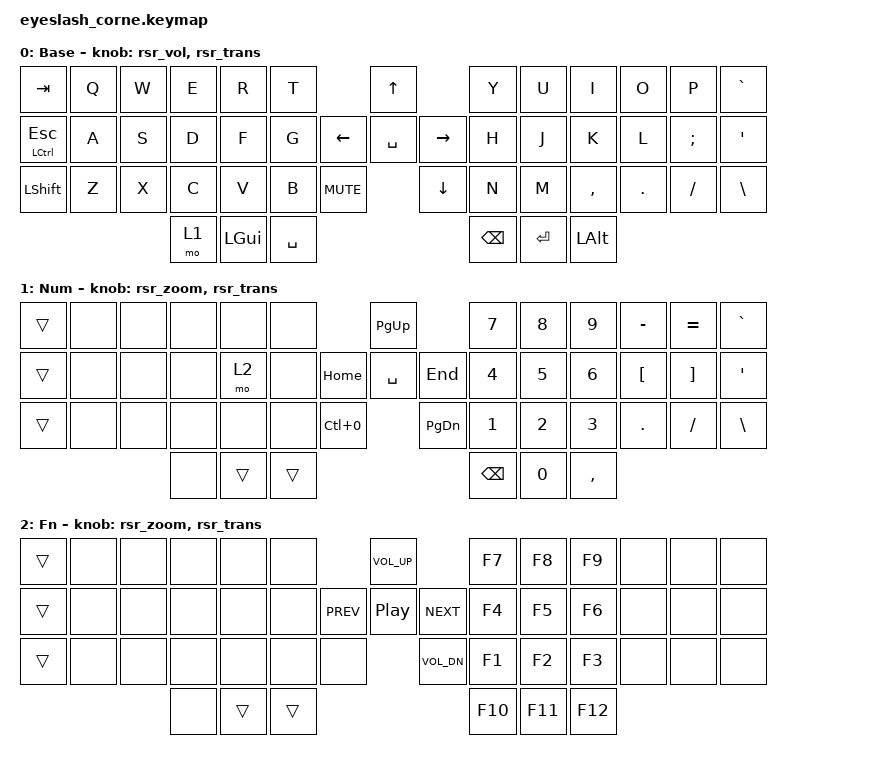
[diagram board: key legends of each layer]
#define ZMK_POINTING_DEFAULT_MOVE_VAL 1200  // 600
#define ZMK_POINTING_DEFAULT_SCRL_VAL 25   // 10

#include <input/processors.dtsi>
#include <zephyr/dt-bindings/input/input-event-codes.h>
#include <behaviors.dtsi>
#include <dt-bindings/zmk/bt.h>
#include <dt-bindings/zmk/ext_power.h>
#include <dt-bindings/zmk/keys.h>
#include <dt-bindings/zmk/pointing.h>
#include <dt-bindings/zmk/outputs.h>
#include <dt-bindings/zmk/rgb.h>

&mmv_input_listener { input-processors = <&zip_xy_scaler 2 1>; };

&msc_input_listener { input-processors = <&zip_scroll_scaler 2 1>; };

&msc {
    acceleration-exponent = <1>;      // 0
    time-to-max-speed-ms = <100>;     // 300
    delay-ms = <0>;                   // 0
};

&mmv {
    time-to-max-speed-ms = <500>;
    acceleration-exponent = <1>;
    trigger-period-ms = <16>;
};

&mt {
    flavor = "tap-preferred";
};

&lt {
    flavor = "tap-preferred";
};

#define MACRO(name,...) \
/ { \
  macros { \
    name: name { \
      compatible = "zmk,behavior-macro"; \
      #binding-cells = <0>; \
      __VA_ARGS__ \
    }; \
  }; \
};

#define MOD_FUNCTION(NAME, MOD, BINDING, MOD_BINDING) \
/ { \
  behaviors { \
    NAME: NAME { \
      compatible = "zmk,behavior-mod-morph"; \
      #binding-cells = <0>; \
      bindings = <BINDING>, <MOD_BINDING>; \
      mods = <(MOD_L##MOD|MOD_R##MOD)>; \
    }; \
  }; \
};

#define MOD_MACRO(NAME, MOD, BINDING, MOD_BINDING) \
MACRO(macro_ ## NAME, wait-ms = <0>; bindings = <MOD_BINDING>;) \
MOD_FUNCTION(NAME, MOD, BINDING, &macro_ ## NAME)

MOD_FUNCTION(bt_tog_clr, SFT, &out OUT_TOG, &bt BT_CLR)

MOD_MACRO(bt_sel_0, SFT,  &bt BT_SEL 0, &bt BT_SEL 0 &bt BT_CLR)
MOD_MACRO(bt_sel_1, SFT,  &bt BT_SEL 1, &bt BT_SEL 1 &bt BT_CLR)
MOD_MACRO(bt_sel_2, SFT,  &bt BT_SEL 2, &bt BT_SEL 2 &bt BT_CLR)
MOD_MACRO(bt_sel_3, SFT,  &bt BT_SEL 3, &bt BT_SEL 3 &bt BT_CLR)

MOD_FUNCTION(rgb_eft, SFT, &rgb_ug RGB_EFF, &rgb_ug RGB_EFR)
MOD_FUNCTION(rgb_hue, SFT, &rgb_ug RGB_HUI, &rgb_ug RGB_HUD)
MOD_FUNCTION(rgb_sat, SFT, &rgb_ug RGB_SAI, &rgb_ug RGB_SAD)
MOD_FUNCTION(rgb_brg, SFT, &rgb_ug RGB_BRI, &rgb_ug RGB_BRD)
MOD_FUNCTION(rgb_spe, SFT, &rgb_ug RGB_SPI, &rgb_ug RGB_SPD)

/ {
    rsr_vol: rsr_vol {
        compatible = "zmk,behavior-runtime-sensor-rotate";
        #sensor-binding-cells = <0>;
        tap-ms = <5>;
        cw-binding = <&kp C_VOL_UP>;
        ccw-binding = <&kp C_VOL_DN>;
    };

    rsr_zoom: rsr_zoom {
        compatible = "zmk,behavior-runtime-sensor-rotate";
        #sensor-binding-cells = <0>;
        tap-ms = <5>;
        cw-binding = <&kp LC(EQUAL)>;
        ccw-binding = <&kp LC(MINUS)>;
    };

    rsr_scroll: rsr_scroll {
        compatible = "zmk,behavior-runtime-sensor-rotate";
        #sensor-binding-cells = <0>;
        tap-ms = <5>;
        cw-binding = <&msc SCRL_DOWN>;
        ccw-binding = <&msc SCRL_UP>;
    };

    rsr_trans: rsr_trans {
        compatible = "zmk,behavior-runtime-sensor-rotate";
        #sensor-binding-cells = <0>;
        tap-ms = <0>;
    };

    keymap {
        compatible = "zmk,keymap";

        default_layer {
            display-name = "Base";
            bindings = <
&kp TAB         &kp Q   &kp W   &kp E   &kp R   &kp T                           &kp UP                  &kp Y   &kp U   &kp I       &kp O   &kp P       &kp GRAVE
&mt LCTRL ESC   &kp A   &kp S   &kp D   &kp F   &kp G               &kp LEFT    &kp SPACE   &kp RIGHT   &kp H   &kp J   &kp K       &kp L   &kp SEMI    &kp SQT
&kp LSHIFT      &kp Z   &kp X   &kp C   &kp V   &kp B   &kp C_MUTE              &kp DOWN                &kp N   &kp M   &kp COMMA   &kp DOT &kp FSLH    &kp BSLH
                                &mo 1   &kp LGUI &kp SPACE                                              &kp BSPC &kp ENTER &kp LALT
            >;
            sensor-bindings = <&rsr_vol &rsr_trans>;
        };

        num {
            display-name = "Num";
            bindings = <
&trans  &none       &none       &none       &none       &none                           &kp PG_UP               &kp N7  &kp N8  &kp N9  &kp MINUS   &kp EQUAL   &kp GRAVE
&trans  &none       &none       &none       &mo 2       &none               &kp HOME    &kp SPACE   &kp END     &kp N4  &kp N5  &kp N6  &kp LBKT    &kp RBKT    &kp SQT
&trans  &none       &none       &none       &none       &none   &kp LC(N0)              &kp PG_DN               &kp N1  &kp N2  &kp N3  &kp DOT     &kp FSLH    &kp BSLH
                                &none       &trans      &trans                                                  &kp BSPC &kp N0 &kp COMMA
            >;
            sensor-bindings = <&rsr_zoom &rsr_trans>;
        };

        fn_num {
            display-name = "Fn";
            bindings = <
&trans  &none       &none       &none       &none       &none                        &kp C_VOL_UP            &kp F7  &kp F8  &kp F9  &none  &none   &none
&trans  &none       &none       &none       &none       &none            &kp C_PREV  &kp C_PP   &kp C_NEXT   &kp F4  &kp F5  &kp F6  &none  &none   &none
&trans  &none       &none       &none       &none       &none    &none               &kp C_VOL_DN            &kp F1  &kp F2  &kp F3  &none  &none   &none
                                &none       &trans      &trans                                               &kp F10 &kp F11 &kp F12
            >;
            sensor-bindings = <&rsr_zoom &rsr_trans>;
        };
    };
};
